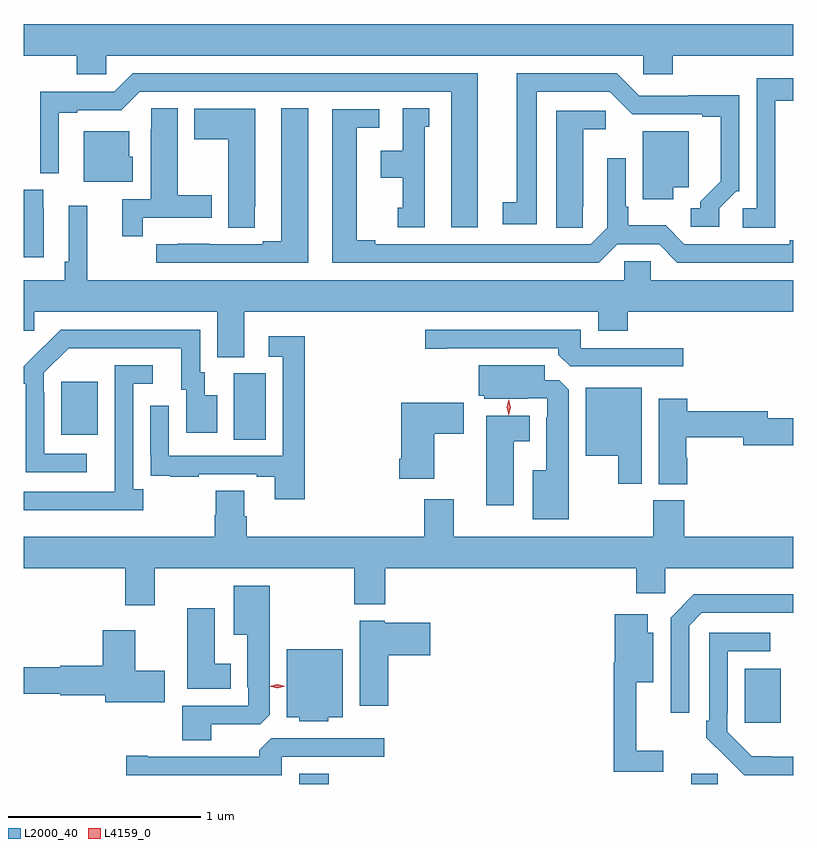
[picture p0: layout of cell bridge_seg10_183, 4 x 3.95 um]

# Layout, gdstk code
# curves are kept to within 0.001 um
import gdstk
lib = gdstk.Library(unit=1e-6, precision=1e-09)
def R(c, l, rs):  # rectangles x0, y0, x1, y1
    for r in rs: c.add(gdstk.rectangle(r[:2], r[2:], *l))
def P(c, l, *ps):  # polygons
    for p in ps: c.add(gdstk.Polygon(p, *l))
L2000_40 = (2000, 40)
L4159_0 = (4159, 0)

bridge_seg10_183 = lib.new_cell('bridge_seg10_183')
R(bridge_seg10_183, L2000_40, [(157.709,1280.546,157.862,1280.599), (159.746,1280.546,159.885,1280.598), (160.025,1280.865,160.213,1281.145), (157.37,1282.336,157.534,1282.68), (156.473,1282.361,156.661,1282.636)])
P(bridge_seg10_183, L2000_40, [(156.705,1284.332),(159.498,1284.332),(159.498,1284.234),(159.65,1284.234),(159.65,1284.332),(160.277,1284.332),(160.277,1284.496),(156.277,1284.496),(156.277,1284.332),(156.554,1284.332),(156.554,1284.234),(156.705,1284.234)],
  [(158.638,1284.24),(156.843,1284.24),(156.747,1284.144),(156.363,1284.144),(156.363,1283.72),(156.46,1283.72),(156.46,1284.036),(156.556,1284.036),(156.556,1284.048),(156.783,1284.048),(156.879,1284.144),(158.498,1284.144),(158.498,1283.439),(158.638,1283.439)],
  [(159.891,1283.538),(159.981,1283.628),(159.996,1283.628),(159.996,1284.125),(159.733,1284.125),(159.733,1284.123),(159.477,1284.123),(159.36,1284.24),(158.84,1284.24),(158.84,1283.57),(158.766,1283.57),(158.766,1283.454),(158.944,1283.454),(158.944,1284.144),(159.324,1284.144),(159.441,1284.027),(159.803,1284.027),(159.803,1284.015),(159.899,1284.015),(159.899,1283.678),(159.794,1283.573),(159.794,1283.538),(159.744,1283.538),(159.744,1283.442),(159.891,1283.442)],
  [(160.183,1284.097),(160.277,1284.097),(160.277,1284.213),(160.086,1284.213),(160.086,1283.538),(160.014,1283.538),(160.014,1283.437),(160.183,1283.437)],
  [(156.896,1283.49),(157.255,1283.49),(157.255,1283.607),(157.078,1283.607),(157.078,1284.059),(156.939,1284.059),(156.939,1283.948),(156.938,1283.948),(156.938,1283.586),(156.788,1283.586),(156.788,1283.394),(156.896,1283.394)],
  [(158.362,1283.961),(158.386,1283.961),(158.386,1284.059),(158.246,1284.059),(158.246,1283.836),(158.132,1283.836),(158.132,1283.696),(158.246,1283.696),(158.246,1283.541),(158.222,1283.541),(158.222,1283.439),(158.362,1283.439)],
  [(157.756,1284.059),(157.616,1284.059),(157.616,1283.367),(157.52,1283.367),(157.52,1283.352),(157.244,1283.352),(157.244,1283.353),(157.078,1283.353),(157.078,1283.352),(156.966,1283.352),(156.966,1283.256),(157.756,1283.256)],
  [(157.479,1283.545),(157.48,1283.545),(157.48,1284.055),(157.163,1284.055),(157.163,1283.896),(157.34,1283.896),(157.34,1283.437),(157.479,1283.437)],
  [(159.361,1283.352),(159.579,1283.352),(159.675,1283.256),(160.277,1283.256),(160.277,1283.372),(160.259,1283.372),(160.259,1283.352),(159.711,1283.352),(159.614,1283.449),(159.418,1283.449),(159.418,1283.545),(159.405,1283.545),(159.405,1283.797),(159.309,1283.797),(159.309,1283.436),(159.225,1283.352),(158.104,1283.352),(158.104,1283.372),(158.008,1283.372),(158.008,1283.958),(158.125,1283.958),(158.125,1284.054),(157.88,1284.054),(157.88,1283.256),(159.265,1283.256)],
  [(159.183,1283.545),(159.184,1283.545),(159.184,1283.948),(159.301,1283.948),(159.301,1284.045),(159.044,1284.045),(159.044,1283.437),(159.183,1283.437)],
  [(159.652,1283.648),(159.733,1283.648),(159.733,1283.938),(159.494,1283.938),(159.494,1283.586),(159.652,1283.586)],
  [(156.844,1283.805),(156.826,1283.805),(156.826,1283.938),(156.59,1283.938),(156.59,1283.675),(156.844,1283.675)],
  [(156.382,1283.538),(156.379,1283.538),(156.379,1283.635),(156.277,1283.635),(156.277,1283.283),(156.382,1283.283)],
  [(157.423,1283),(159.263,1283),(159.263,1282.901),(159.416,1282.901),(159.416,1283),(160.277,1283),(160.277,1283.164),(159.537,1283.164),(159.537,1283.262),(159.399,1283.262),(159.399,1283.164),(156.608,1283.164),(156.608,1283.551),(156.51,1283.551),(156.51,1283.26),(156.49,1283.26),(156.49,1283.164),(156.277,1283.164),(156.277,1282.902),(156.333,1282.902),(156.333,1283),(157.283,1283),(157.283,1282.765),(157.423,1282.765)],
  [(156.604,1282.263),(156.384,1282.263),(156.384,1282.583),(156.381,1282.583),(156.381,1282.683),(156.51,1282.812),(157.097,1282.812),(157.097,1282.596),(157.121,1282.596),(157.121,1282.371),(157.282,1282.371),(157.282,1282.567),(157.219,1282.567),(157.219,1282.686),(157.194,1282.686),(157.194,1282.908),(156.47,1282.908),(156.277,1282.717),(156.277,1282.625),(156.288,1282.625),(156.288,1282.167),(156.604,1282.167)],
  [(159.706,1282.812),(159.171,1282.812),(159.171,1282.908),(158.364,1282.908),(158.364,1282.807),(158.476,1282.807),(158.476,1282.812),(159.056,1282.812),(159.056,1282.778),(159.117,1282.716),(159.706,1282.716)],
  [(157.739,1282.873),(157.551,1282.873),(157.551,1282.767),(157.623,1282.767),(157.623,1282.251),(157.032,1282.251),(157.032,1282.513),(156.936,1282.513),(156.936,1282.258),(156.937,1282.258),(156.937,1282.149),(157.039,1282.149),(157.039,1282.143),(157.187,1282.143),(157.187,1282.155),(157.487,1282.155),(157.487,1282.143),(157.583,1282.143),(157.583,1282.026),(157.739,1282.026)],
  [(159.109,1282.595),(159.06,1282.644),(158.986,1282.644),(158.986,1282.723),(158.642,1282.723),(158.642,1282.563),(158.67,1282.563),(158.67,1282.547),(158.897,1282.547),(158.897,1282.551),(158.997,1282.551),(158.997,1282.451),(158.993,1282.451),(158.993,1282.177),(158.924,1282.177),(158.924,1281.923),(159.109,1281.923)],
  [(156.898,1282.078),(156.846,1282.078),(156.846,1282.626),(156.949,1282.626),(156.949,1282.722),(156.75,1282.722),(156.75,1282.265),(156.749,1282.265),(156.749,1282.065),(156.277,1282.065),(156.277,1281.968),(156.898,1281.968)],
  [(159.49,1282.606),(159.197,1282.606),(159.197,1282.253),(159.368,1282.253),(159.368,1282.107),(159.49,1282.107)],
  [(159.725,1282.241),(159.72,1282.241),(159.72,1282.348),(160.016,1282.348),(160.016,1282.306),(160.277,1282.306),(160.277,1282.448),(160.144,1282.448),(160.144,1282.484),(159.725,1282.484),(159.725,1282.549),(159.578,1282.549),(159.578,1282.105),(159.725,1282.105)],
  [(158.41,1282.366),(158.563,1282.366),(158.563,1282.528),(158.24,1282.528),(158.24,1282.237),(158.228,1282.237),(158.228,1282.133),(158.41,1282.133)],
  [(158.824,1282.328),(158.908,1282.328),(158.908,1282.459),(158.681,1282.459),(158.681,1281.996),(158.824,1281.996)],
  [(156.958,1281.668),(157.996,1281.668),(157.996,1281.479),(158.156,1281.479),(158.156,1281.668),(159.461,1281.668),(159.461,1281.537),(159.612,1281.537),(159.612,1281.668),(160.277,1281.668),(160.277,1281.832),(159.71,1281.832),(159.71,1282.02),(159.55,1282.02),(159.55,1281.832),(158.512,1281.832),(158.512,1282.027),(158.36,1282.027),(158.36,1281.832),(157.436,1281.832),(157.436,1281.938),(157.423,1281.938),(157.423,1282.07),(157.276,1282.07),(157.276,1281.945),(157.271,1281.945),(157.271,1281.832),(156.277,1281.832),(156.277,1281.668),(156.806,1281.668),(156.806,1281.474),(156.958,1281.474)],
  [(157.252,1280.856),(157.506,1280.856),(157.555,1280.905),(157.555,1281.577),(157.37,1281.577),(157.37,1281.323),(157.439,1281.323),(157.439,1281.049),(157.443,1281.049),(157.443,1280.952),(157.1,1280.952),(157.1,1280.773),(157.252,1280.773)],
  [(159.735,1281.369),(159.801,1281.435),(160.277,1281.435),(160.277,1281.532),(159.76,1281.532),(159.639,1281.411),(159.639,1280.916),(159.735,1280.916)],
  [(157.354,1281.172),(157.27,1281.172),(157.27,1281.46),(157.127,1281.46),(157.127,1281.041),(157.354,1281.041)],
  [(159.601,1280.719),(159.461,1280.719),(159.461,1281.074),(159.55,1281.074),(159.55,1281.331),(159.52,1281.331),(159.52,1281.427),(159.35,1281.427),(159.35,1281.178),(159.343,1281.178),(159.343,1280.61),(159.601,1280.61)],
  [(158.171,1281.215),(158.389,1281.215),(158.389,1281.385),(158.154,1281.385),(158.154,1281.394),(158.024,1281.394),(158.024,1280.952),(158.171,1280.952)],
  [(157.009,1281.135),(156.856,1281.135),(156.856,1281.346),(156.689,1281.346),(156.689,1281.16),(156.468,1281.16),(156.468,1281.152),(156.277,1281.152),(156.277,1281.016),(156.468,1281.016),(156.468,1281.008),(156.701,1281.008),(156.701,1280.972),(157.009,1280.972)],
  [(160.277,1280.688),(160.062,1280.689),(159.933,1280.817),(159.933,1280.917),(159.936,1280.917),(159.936,1281.237),(160.156,1281.237),(160.156,1281.333),(159.84,1281.333),(159.84,1280.875),(159.825,1280.875),(159.825,1280.787),(160.022,1280.592),(160.277,1280.592)],
  [(157.86,1280.894),(157.936,1280.894),(157.936,1281.247),(157.643,1281.247),(157.643,1280.894),(157.71,1280.894),(157.71,1280.873),(157.86,1280.873)],
  [(157.617,1280.688),(158.152,1280.688),(158.152,1280.784),(157.563,1280.784),(157.502,1280.722),(157.502,1280.688),(156.922,1280.688),(156.922,1280.693),(156.81,1280.693),(156.81,1280.592),(157.617,1280.592)])
P(bridge_seg10_183, L4159_0, [(158.798,1282.461),(158.798,1282.462),(158.788,1282.503),(158.798,1282.544),(158.798,1282.544),(158.798,1282.544),(158.808,1282.503),(158.798,1282.462)],
  [(157.595,1281.044),(157.554,1281.054),(157.554,1281.054),(157.554,1281.055),(157.595,1281.064),(157.636,1281.053),(157.636,1281.053),(157.636,1281.053)])

lib.write_gds('bridge_seg10_183.gds')
